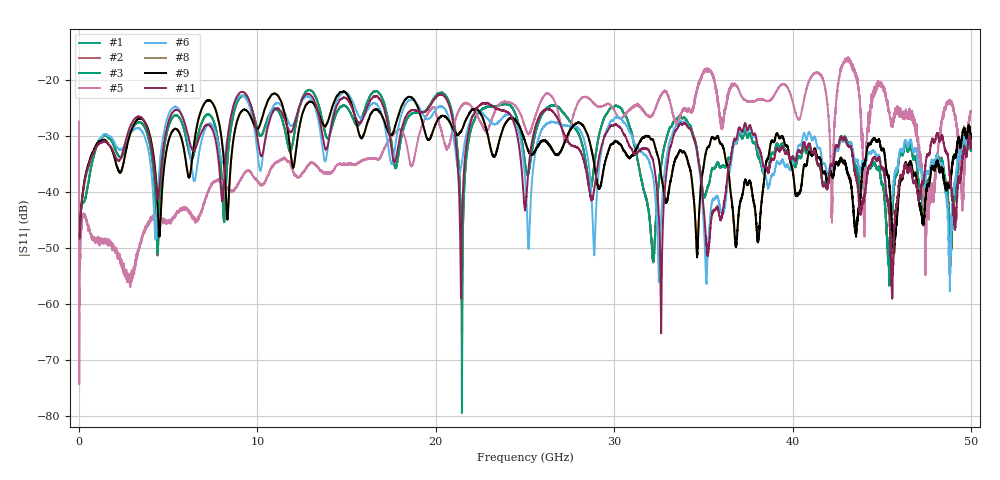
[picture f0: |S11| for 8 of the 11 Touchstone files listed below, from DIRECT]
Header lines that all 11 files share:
!Created with skrf (http://scikit-rf.org).
# Hz S RI R 50.0
!freq ReS11 ImS11
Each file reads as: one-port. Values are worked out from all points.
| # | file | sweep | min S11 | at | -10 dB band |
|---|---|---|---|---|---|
| 1 | 3654B_FTERM1_8510C_mate1_swp0.s1p | 45 MHz to 50 GHz | -77.0 dB | 21.47 GHz | over 49.95 GHz wide |
| 2 | 3654B_FTERM1_8510C_mate1_swp1.s1p | 45 MHz to 50 GHz | -72.2 dB | 21.47 GHz | over 49.95 GHz wide |
| 3 | 3654B_FTERM1_8510C_mate1_swp2.s1p | 45 MHz to 50 GHz | -79.4 dB | 21.47 GHz | over 49.95 GHz wide |
| 4 | 3654B_FTERM1_FieldFox_mate1_swp0.s1p | 300 kHz to 50 GHz | -75.6 dB | 5.3 MHz | over 50 GHz wide |
| 5 | 3654B_FTERM1_FieldFox_mate1_swp1.s1p | 300 kHz to 50 GHz | -74.3 dB | 20.3 MHz | over 50 GHz wide |
| 6 | 3654B_FTERM2_8510C_mate1_swp0.s1p | 45 MHz to 50 GHz | -57.8 dB | 48.81 GHz | over 49.95 GHz wide |
| 7 | 3654B_FTERM2_FieldFox_mate1_swp0.s1p | 300 kHz to 50 GHz | -67.7 dB | 27.36 GHz | over 50 GHz wide |
| 8 | 85056A_FBBLOAD_8510C_mate1_swp1.s1p | 45 MHz to 50 GHz | -51.8 dB | 45.66 GHz | over 49.95 GHz wide |
| 9 | 85056A_FBBLOAD_8510C_mate1_swp2.s1p | 45 MHz to 50 GHz | -51.7 dB | 34.64 GHz | over 49.95 GHz wide |
| 10 | 85056A_FBBLOAD_FieldFox_mate1_swp2.s1p | 300 kHz to 50 GHz | -96.1 dB | 3.875 GHz | over 50 GHz wide |
| 11 | 85058B_FLBLOAD_8510C_mate1_swp2.s1p | 45 MHz to 50 GHz | -65.2 dB | 32.63 GHz | over 49.95 GHz wide |
